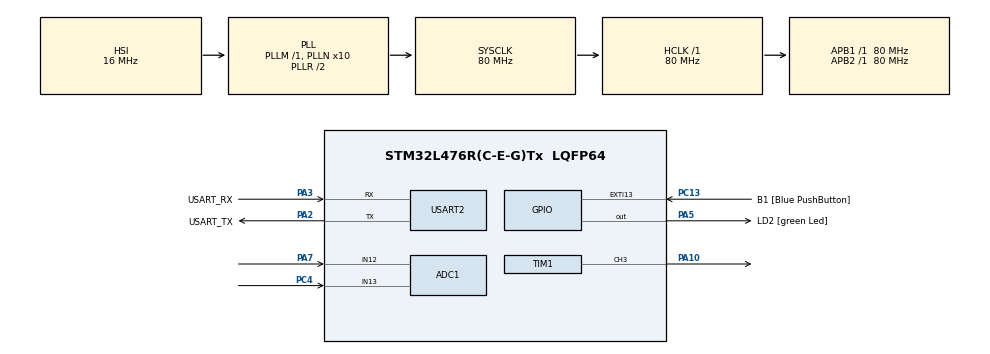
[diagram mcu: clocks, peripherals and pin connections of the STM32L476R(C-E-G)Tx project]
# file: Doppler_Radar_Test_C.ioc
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ADC1.Channel-0\#ChannelRegularConversion=ADC_CHANNEL_12
ADC1.DMAContinuousRequests=ENABLE
ADC1.ExternalTrigConv=ADC_EXTERNALTRIG_T1_CC3
ADC1.NbrOfConversion=1
ADC1.NbrOfConversionFlag=1
ADC1.OffsetNumber-0\#ChannelRegularConversion=ADC_OFFSET_NONE
ADC1.Rank-0\#ChannelRegularConversion=1
ADC1.SamplingTime-0\#ChannelRegularConversion=ADC_SAMPLETIME_2CYCLES_5
ADC1.SingleDiff-0\#ChannelRegularConversion=ADC_DIFFERENTIAL_ENDED
ADC1.master=1
Dma.ADC1.0.Direction=DMA_PERIPH_TO_MEMORY
Dma.ADC1.0.Instance=DMA1_Channel1
Dma.ADC1.0.MemDataAlignment=DMA_MDATAALIGN_WORD
Dma.ADC1.0.MemInc=DMA_MINC_ENABLE
Dma.ADC1.0.Mode=DMA_CIRCULAR
Dma.ADC1.0.PeriphDataAlignment=DMA_PDATAALIGN_HALFWORD
Dma.ADC1.0.PeriphInc=DMA_PINC_DISABLE
Dma.ADC1.0.Priority=DMA_PRIORITY_VERY_HIGH
Dma.Request0=ADC1
Mcu.Family=STM32L4
Mcu.Name=STM32L476R(C-E-G)Tx
Mcu.Package=LQFP64
NVIC.ADC1_2_IRQn=true\:0\:0\:false\:false\:true\:true\:true\:true
NVIC.DMA1_Channel1_IRQn=true\:0\:0\:false\:false\:true\:false\:true\:true
NVIC.PriorityGroup=NVIC_PRIORITYGROUP_4
PA10.Signal=S_TIM1_CH3
PA13\ (JTMS-SWDIO).GPIO_Label=TMS
PA13\ (JTMS-SWDIO).Mode=Serial_Wire
PA13\ (JTMS-SWDIO).Signal=SYS_JTMS-SWDIO
PA14\ (JTCK-SWCLK).GPIO_Label=TCK
PA14\ (JTCK-SWCLK).Mode=Serial_Wire
PA14\ (JTCK-SWCLK).Signal=SYS_JTCK-SWCLK
PA2.GPIO_Label=USART_TX
PA2.GPIO_Mode=GPIO_MODE_AF_PP
PA2.GPIO_PuPd=GPIO_NOPULL
PA2.GPIO_Speed=GPIO_SPEED_FREQ_VERY_HIGH
PA2.Mode=Asynchronous
PA2.Signal=USART2_TX
PA3.GPIO_Label=USART_RX
PA3.GPIO_Mode=GPIO_MODE_AF_PP
PA3.GPIO_PuPd=GPIO_NOPULL
PA3.GPIO_Speed=GPIO_SPEED_FREQ_VERY_HIGH
PA3.Mode=Asynchronous
PA3.Signal=USART2_RX
PA5.GPIO_Label=LD2 [green Led]
PA5.GPIO_ModeDefaultOutputPP=GPIO_MODE_OUTPUT_PP
PA5.GPIO_PuPd=GPIO_NOPULL
PA5.GPIO_Speed=GPIO_SPEED_FREQ_LOW
PA5.Signal=GPIO_Output
PA7.Signal=ADCx_IN12
PB3\ (JTDO-TRACESWO).GPIO_Label=SWO
PB3\ (JTDO-TRACESWO).Signal=SYS_JTDO-SWO
PC13.GPIO_Label=B1 [Blue PushButton]
PC13.GPIO_ModeDefaultEXTI=GPIO_MODE_IT_FALLING
PC13.GPIO_PuPd=GPIO_NOPULL
PC13.Signal=GPXTI13
PC14-OSC32_IN\ (PC14).Mode=LSE-External-Oscillator
PC14-OSC32_IN\ (PC14).Signal=RCC_OSC32_IN
PC15-OSC32_OUT\ (PC15).Mode=LSE-External-Oscillator
PC15-OSC32_OUT\ (PC15).Signal=RCC_OSC32_OUT
PC4.Signal=ADCx_IN13
PH0-OSC_IN\ (PH0).Signal=RCC_OSC_IN
PH1-OSC_OUT\ (PH1).Signal=RCC_OSC_OUT
ProjectManager.HeapSize=0x200
ProjectManager.StackSize=0x400
ProjectManager.TargetToolchain=STM32CubeIDE
RCC.ADCFreq_Value=64000000
RCC.AHBFreq_Value=80000000
RCC.APB1Freq_Value=80000000
RCC.APB1TimFreq_Value=80000000
RCC.APB2Freq_Value=80000000
RCC.APB2TimFreq_Value=80000000
RCC.CortexFreq_Value=80000000
RCC.HCLKFreq_Value=80000000
RCC.HSE_VALUE=8000000
RCC.HSI_VALUE=16000000
RCC.MSI_VALUE=4000000
RCC.PLLN=10
RCC.PLLSourceVirtual=RCC_PLLSOURCE_HSI
RCC.PREFETCH_ENABLE=1
RCC.SYSCLKFreq_VALUE=80000000
RCC.SYSCLKSource=RCC_SYSCLKSOURCE_PLLCLK
RCC.USBFreq_Value=64000000
RCC.VCOOutputFreq_Value=160000000
SH.ADCx_IN12.0=ADC1_IN12,IN12-Differential
SH.ADCx_IN13.0=ADC1_IN13,IN12-Differential
SH.S_TIM1_CH3.0=TIM1_CH3,PWM Generation3 CH3
TIM1.Channel-PWM\ Generation3\ CH3=TIM_CHANNEL_3
TIM1.OCFastMode_PWM-PWM\ Generation3\ CH3=TIM_OCFAST_ENABLE
TIM1.Period=20-1
TIM1.Prescaler=800-1
TIM1.Pulse-PWM\ Generation3\ CH3=7
TIM2.Channel-PWM\ Generation2\ No\ Output=TIM_CHANNEL_2
TIM2.Period=1
TIM2.Prescaler=80-1
USART2.VirtualMode-Asynchronous=VM_ASYNC
VP_TIM2_VS_no_output2.Mode=PWM Generation2 No Output
board=NUCLEO-L476RG

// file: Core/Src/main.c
/* USER CODE BEGIN Header */
/**
  ******************************************************************************
  * @file           : main.c
  * @brief          : Main program body
  ******************************************************************************
  * @attention
  *
  * Copyright (c) 2022 STMicroelectronics.
  * All rights reserved.
  *
  * This software is licensed under terms that can be found in the LICENSE file
  * in the root directory of this software component.
  * If no LICENSE file comes with this software, it is provided AS-IS.
  *
  ******************************************************************************
  */
/* USER CODE END Header */
#include "main.h"

/* USER CODE BEGIN Includes */
#include "arm_math.h"
#include "Doppler_Radar.h"
#include "LCD1602.h"

/* USER CODE END Includes */

/* USER CODE BEGIN PD */
#define SPEED_CAL_PARAM	0.01
/* USER CODE END PD */

ADC_HandleTypeDef hadc1;
DMA_HandleTypeDef hdma_adc1;

TIM_HandleTypeDef htim1;
TIM_HandleTypeDef htim2;

UART_HandleTypeDef huart2;

void SystemClock_Config(void);
static void MX_GPIO_Init(void);
static void MX_DMA_Init(void);
static void MX_USART2_UART_Init(void);
static void MX_ADC1_Init(void);
static void MX_TIM2_Init(void);
static void MX_TIM1_Init(void);

/* USER CODE BEGIN 0 */

DopplerADC_t DopplerADC;
LCD1602_t LCD1602_Dev;
/* USER CODE END 0 */

int main(void)
{

  /* MCU Configuration--------------------------------------------------------*/

  /* Reset of all peripherals, Initializes the Flash interface and the Systick. */
  HAL_Init();

  /* Configure the system clock */
  SystemClock_Config();

  /* Initialize all configured peripherals */
  MX_GPIO_Init();
  MX_DMA_Init();
  MX_USART2_UART_Init();
  MX_ADC1_Init();
  MX_TIM2_Init();
  MX_TIM1_Init();
  /* USER CODE BEGIN 2 */
  LCD1602_Pins_Set(&LCD1602_Dev, GPIOC, GPIO_PIN_1, GPIOC, GPIO_PIN_0);
  LCD1602_4Pin_Set(&LCD1602_Dev,
					GPIOC, GPIO_PIN_9,
					GPIOC, GPIO_PIN_10,
					GPIOC, GPIO_PIN_11,
		  	  	  	GPIOD, GPIO_PIN_2);
  LCD1602_Init(&LCD1602_Dev);
//  LCD1602_Printf(&LCD1602_Dev, "Init");

  HAL_TIM_Base_Start_IT(&htim1);
  HAL_TIM_PWM_Start(&htim1, TIM_CHANNEL_3);
  __HAL_TIM_SetCompare(&htim1, TIM_CHANNEL_3, 5);

  Doppler_Radar_Init(&DopplerADC, &hadc1, &hdma_adc1, 5000);

  HAL_Delay(100);
  /* USER CODE END 2 */

  /* Infinite loop */
  while (1)
  {

    /* USER CODE BEGIN 3 */
	  LCD1602_Clear(&LCD1602_Dev);
	  LCD1602_SetCursor(&LCD1602_Dev, 0, 0);
	  LCD1602_Printf(&LCD1602_Dev, "Freq: %d", DopplerADC.max_frequency);
	  LCD1602_SetCursor(&LCD1602_Dev, 1, 0);
	  float32_t speed = DopplerADC.max_frequency * SPEED_CAL_PARAM;
	  LCD1602_Printf(&LCD1602_Dev, "Speed: %.5f", speed);
	  HAL_Delay(1000);

  }
  /* USER CODE END 3 */
}

void SystemClock_Config(void)
{
  RCC_OscInitTypeDef RCC_OscInitStruct = {0};
  RCC_ClkInitTypeDef RCC_ClkInitStruct = {0};

  /** Configure the main internal regulator output voltage
  */
  if (HAL_PWREx_ControlVoltageScaling(PWR_REGULATOR_VOLTAGE_SCALE1) != HAL_OK)
  {
    Error_Handler();
  }

  /** Initializes the RCC Oscillators according to the specified parameters
  * in the RCC_OscInitTypeDef structure.
  */
  RCC_OscInitStruct.OscillatorType = RCC_OSCILLATORTYPE_HSI;
  RCC_OscInitStruct.HSIState = RCC_HSI_ON;
  RCC_OscInitStruct.HSICalibrationValue = RCC_HSICALIBRATION_DEFAULT;
  RCC_OscInitStruct.PLL.PLLState = RCC_PLL_ON;
  RCC_OscInitStruct.PLL.PLLSource = RCC_PLLSOURCE_HSI;
  RCC_OscInitStruct.PLL.PLLM = 1;
  RCC_OscInitStruct.PLL.PLLN = 10;
  RCC_OscInitStruct.PLL.PLLP = RCC_PLLP_DIV7;
  RCC_OscInitStruct.PLL.PLLQ = RCC_PLLQ_DIV2;
  RCC_OscInitStruct.PLL.PLLR = RCC_PLLR_DIV2;
  if (HAL_RCC_OscConfig(&RCC_OscInitStruct) != HAL_OK)
  {
    Error_Handler();
  }

  /** Initializes the CPU, AHB and APB buses clocks
  */
  RCC_ClkInitStruct.ClockType = RCC_CLOCKTYPE_HCLK|RCC_CLOCKTYPE_SYSCLK
                              |RCC_CLOCKTYPE_PCLK1|RCC_CLOCKTYPE_PCLK2;
  RCC_ClkInitStruct.SYSCLKSource = RCC_SYSCLKSOURCE_PLLCLK;
  RCC_ClkInitStruct.AHBCLKDivider = RCC_SYSCLK_DIV1;
  RCC_ClkInitStruct.APB1CLKDivider = RCC_HCLK_DIV1;
  RCC_ClkInitStruct.APB2CLKDivider = RCC_HCLK_DIV1;

  if (HAL_RCC_ClockConfig(&RCC_ClkInitStruct, FLASH_LATENCY_4) != HAL_OK)
  {
    Error_Handler();
  }
}

static void MX_ADC1_Init(void)
{

  ADC_MultiModeTypeDef multimode = {0};
  ADC_ChannelConfTypeDef sConfig = {0};

  /** Common config
  */
  hadc1.Instance = ADC1;
  hadc1.Init.ClockPrescaler = ADC_CLOCK_ASYNC_DIV1;
  hadc1.Init.Resolution = ADC_RESOLUTION_12B;
  hadc1.Init.DataAlign = ADC_DATAALIGN_RIGHT;
  hadc1.Init.ScanConvMode = ADC_SCAN_DISABLE;
  hadc1.Init.EOCSelection = ADC_EOC_SINGLE_CONV;
  hadc1.Init.LowPowerAutoWait = DISABLE;
  hadc1.Init.ContinuousConvMode = DISABLE;
  hadc1.Init.NbrOfConversion = 1;
  hadc1.Init.DiscontinuousConvMode = DISABLE;
  hadc1.Init.ExternalTrigConv = ADC_EXTERNALTRIG_T1_CC3;
  hadc1.Init.ExternalTrigConvEdge = ADC_EXTERNALTRIGCONVEDGE_RISING;
  hadc1.Init.DMAContinuousRequests = ENABLE;
  hadc1.Init.Overrun = ADC_OVR_DATA_PRESERVED;
  hadc1.Init.OversamplingMode = DISABLE;
  if (HAL_ADC_Init(&hadc1) != HAL_OK)
  {
    Error_Handler();
  }

  /** Configure the ADC multi-mode
  */
  multimode.Mode = ADC_MODE_INDEPENDENT;
  if (HAL_ADCEx_MultiModeConfigChannel(&hadc1, &multimode) != HAL_OK)
  {
    Error_Handler();
  }

  /** Configure Regular Channel
  */
  sConfig.Channel = ADC_CHANNEL_12;
  sConfig.Rank = ADC_REGULAR_RANK_1;
  sConfig.SamplingTime = ADC_SAMPLETIME_2CYCLES_5;
  sConfig.SingleDiff = ADC_DIFFERENTIAL_ENDED;
  sConfig.OffsetNumber = ADC_OFFSET_NONE;
  sConfig.Offset = 0;
  if (HAL_ADC_ConfigChannel(&hadc1, &sConfig) != HAL_OK)
  {
    Error_Handler();
  }

}

static void MX_TIM1_Init(void)
{

  TIM_MasterConfigTypeDef sMasterConfig = {0};
  TIM_OC_InitTypeDef sConfigOC = {0};
  TIM_BreakDeadTimeConfigTypeDef sBreakDeadTimeConfig = {0};

  htim1.Instance = TIM1;
  htim1.Init.Prescaler = 800-1;
  htim1.Init.CounterMode = TIM_COUNTERMODE_UP;
  htim1.Init.Period = 20-1;
  htim1.Init.ClockDivision = TIM_CLOCKDIVISION_DIV1;
  htim1.Init.RepetitionCounter = 0;
  htim1.Init.AutoReloadPreload = TIM_AUTORELOAD_PRELOAD_DISABLE;
  if (HAL_TIM_PWM_Init(&htim1) != HAL_OK)
  {
    Error_Handler();
  }
  sMasterConfig.MasterOutputTrigger = TIM_TRGO_RESET;
  sMasterConfig.MasterOutputTrigger2 = TIM_TRGO2_RESET;
  sMasterConfig.MasterSlaveMode = TIM_MASTERSLAVEMODE_DISABLE;
  if (HAL_TIMEx_MasterConfigSynchronization(&htim1, &sMasterConfig) != HAL_OK)
  {
    Error_Handler();
  }
  sConfigOC.OCMode = TIM_OCMODE_PWM1;
  sConfigOC.Pulse = 7;
  sConfigOC.OCPolarity = TIM_OCPOLARITY_HIGH;
  sConfigOC.OCNPolarity = TIM_OCNPOLARITY_HIGH;
  sConfigOC.OCFastMode = TIM_OCFAST_ENABLE;
  sConfigOC.OCIdleState = TIM_OCIDLESTATE_RESET;
  sConfigOC.OCNIdleState = TIM_OCNIDLESTATE_RESET;
  if (HAL_TIM_PWM_ConfigChannel(&htim1, &sConfigOC, TIM_CHANNEL_3) != HAL_OK)
  {
    Error_Handler();
  }
  sBreakDeadTimeConfig.OffStateRunMode = TIM_OSSR_DISABLE;
  sBreakDeadTimeConfig.OffStateIDLEMode = TIM_OSSI_DISABLE;
  sBreakDeadTimeConfig.LockLevel = TIM_LOCKLEVEL_OFF;
  sBreakDeadTimeConfig.DeadTime = 0;
  sBreakDeadTimeConfig.BreakState = TIM_BREAK_DISABLE;
  sBreakDeadTimeConfig.BreakPolarity = TIM_BREAKPOLARITY_HIGH;
  sBreakDeadTimeConfig.BreakFilter = 0;
  sBreakDeadTimeConfig.Break2State = TIM_BREAK2_DISABLE;
  sBreakDeadTimeConfig.Break2Polarity = TIM_BREAK2POLARITY_HIGH;
  sBreakDeadTimeConfig.Break2Filter = 0;
  sBreakDeadTimeConfig.AutomaticOutput = TIM_AUTOMATICOUTPUT_DISABLE;
  if (HAL_TIMEx_ConfigBreakDeadTime(&htim1, &sBreakDeadTimeConfig) != HAL_OK)
  {
    Error_Handler();
  }
  HAL_TIM_MspPostInit(&htim1);

}

static void MX_TIM2_Init(void)
{

  TIM_MasterConfigTypeDef sMasterConfig = {0};
  TIM_OC_InitTypeDef sConfigOC = {0};

  htim2.Instance = TIM2;
  htim2.Init.Prescaler = 80-1;
  htim2.Init.CounterMode = TIM_COUNTERMODE_UP;
  htim2.Init.Period = 1;
  htim2.Init.ClockDivision = TIM_CLOCKDIVISION_DIV1;
  htim2.Init.AutoReloadPreload = TIM_AUTORELOAD_PRELOAD_DISABLE;
  if (HAL_TIM_PWM_Init(&htim2) != HAL_OK)
  {
    Error_Handler();
  }
  sMasterConfig.MasterOutputTrigger = TIM_TRGO_RESET;
  sMasterConfig.MasterSlaveMode = TIM_MASTERSLAVEMODE_DISABLE;
  if (HAL_TIMEx_MasterConfigSynchronization(&htim2, &sMasterConfig) != HAL_OK)
  {
    Error_Handler();
  }
  sConfigOC.OCMode = TIM_OCMODE_PWM1;
  sConfigOC.Pulse = 0;
  sConfigOC.OCPolarity = TIM_OCPOLARITY_HIGH;
  sConfigOC.OCFastMode = TIM_OCFAST_DISABLE;
  if (HAL_TIM_PWM_ConfigChannel(&htim2, &sConfigOC, TIM_CHANNEL_2) != HAL_OK)
  {
    Error_Handler();
  }

}

static void MX_USART2_UART_Init(void)
{

  huart2.Instance = USART2;
  huart2.Init.BaudRate = 115200;
  huart2.Init.WordLength = UART_WORDLENGTH_8B;
  huart2.Init.StopBits = UART_STOPBITS_1;
  huart2.Init.Parity = UART_PARITY_NONE;
  huart2.Init.Mode = UART_MODE_TX_RX;
  huart2.Init.HwFlowCtl = UART_HWCONTROL_NONE;
  huart2.Init.OverSampling = UART_OVERSAMPLING_16;
  huart2.Init.OneBitSampling = UART_ONE_BIT_SAMPLE_DISABLE;
  huart2.AdvancedInit.AdvFeatureInit = UART_ADVFEATURE_NO_INIT;
  if (HAL_UART_Init(&huart2) != HAL_OK)
  {
    Error_Handler();
  }

}

static void MX_DMA_Init(void)
{

  /* DMA controller clock enable */
  __HAL_RCC_DMA1_CLK_ENABLE();

  /* DMA interrupt init */
  /* DMA1_Channel1_IRQn interrupt configuration */
  HAL_NVIC_SetPriority(DMA1_Channel1_IRQn, 0, 0);
  HAL_NVIC_EnableIRQ(DMA1_Channel1_IRQn);

}

static void MX_GPIO_Init(void)
{
  GPIO_InitTypeDef GPIO_InitStruct = {0};

  /* GPIO Ports Clock Enable */
  __HAL_RCC_GPIOC_CLK_ENABLE();
  __HAL_RCC_GPIOH_CLK_ENABLE();
  __HAL_RCC_GPIOA_CLK_ENABLE();
  __HAL_RCC_GPIOB_CLK_ENABLE();

  /*Configure GPIO pin Output Level */
  HAL_GPIO_WritePin(LD2_GPIO_Port, LD2_Pin, GPIO_PIN_RESET);

  /*Configure GPIO pin : B1_Pin */
  GPIO_InitStruct.Pin = B1_Pin;
  GPIO_InitStruct.Mode = GPIO_MODE_IT_FALLING;
  GPIO_InitStruct.Pull = GPIO_NOPULL;
  HAL_GPIO_Init(B1_GPIO_Port, &GPIO_InitStruct);

  /*Configure GPIO pin : LD2_Pin */
  GPIO_InitStruct.Pin = LD2_Pin;
  GPIO_InitStruct.Mode = GPIO_MODE_OUTPUT_PP;
  GPIO_InitStruct.Pull = GPIO_NOPULL;
  GPIO_InitStruct.Speed = GPIO_SPEED_FREQ_LOW;
  HAL_GPIO_Init(LD2_GPIO_Port, &GPIO_InitStruct);

}

void Error_Handler(void)
{
  __disable_irq();
  while (1)
  {
  }
}
